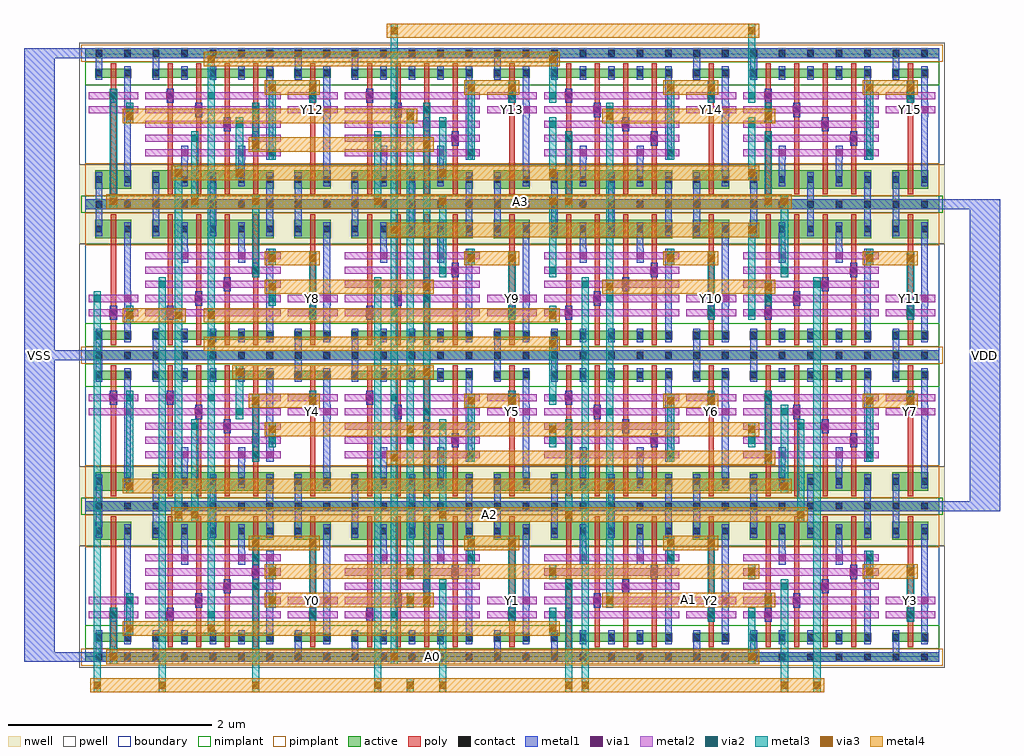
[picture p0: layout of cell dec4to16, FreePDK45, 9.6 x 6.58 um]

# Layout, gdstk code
import gdstk
lib = gdstk.Library(unit=1e-6, precision=5e-10)
def R(c, l, rs):  # rectangles x0, y0, x1, y1
    for r in rs: c.add(gdstk.rectangle(r[:2], r[2:], *l))
def A(c, l, x, y, w, h, nx, ny, dx, dy):  # array of equal rectangles
    R(c, l, [(x+i*dx, y+j*dy, x+i*dx+w, y+j*dy+h) for i in range(nx) for j in range(ny)])
active = (1, 0)
pwell = (2, 0)
nwell = (3, 0)
nimplant = (4, 0)
pimplant = (5, 0)
poly = (9, 0)
contact = (10, 0)
metal1 = (11, 0)
via1 = (12, 0)
metal2 = (13, 0)
via2 = (14, 0)
metal3 = (15, 0)
via3 = (16, 0)
metal4 = (17, 0)
boundary = (235, 0)

inv = lib.new_cell('inv')
R(inv, active, [(0,-0.05,0.56,0.045), (0.1,0.15,0.455,0.24), (0.1,1.15,0.455,1.33), (0,1.435,0.56,1.53)])
R(inv, pwell, [(-0.055,-0.105,0.615,1.095)])
R(inv, nwell, [(-0.055,1.095,0.615,1.585)])
R(inv, nimplant, [(0,0.08,0.56,0.31), (-0.035,1.4,0.595,1.565)])
R(inv, pimplant, [(-0.035,-0.085,0.595,0.08), (0,1.08,0.56,1.4)])
R(inv, poly, [(0.255,0.095,0.305,0.295), (0.255,0.295,0.305,1.095), (0.24,0.375,0.315,0.45), (0.255,1.095,0.305,1.385)])
R(inv, contact, [(0.105,-0.035,0.17,0.03), (0.385,-0.035,0.45,0.03), (0.105,0.16,0.17,0.225), (0.385,0.16,0.45,0.225), (0.245,0.38,0.31,0.445), (0.105,1.205,0.17,1.27), (0.385,1.205,0.45,1.27), (0.105,1.45,0.17,1.515), (0.385,1.45,0.45,1.515)])
R(inv, metal1, [(0,-0.05,0.56,0.045), (0.105,0,0.17,0.125), (0.105,0.125,0.17,0.26), (0.385,0.125,0.45,0.26), (0.385,0.26,0.45,0.555), (0.245,0.345,0.315,0.485), (0.385,0.485,0.455,0.625), (0.385,0.485,0.455,0.625), (0.385,0.555,0.45,1.17), (0.105,1.17,0.17,1.305), (0.385,1.17,0.45,1.305), (0.105,1.305,0.17,1.485), (0,1.435,0.56,1.53)])
R(inv, via1, [(0.245,0.38,0.315,0.45), (0.385,0.52,0.455,0.59), (0.385,0.52,0.455,0.59)])
R(inv, metal2, [(0.035,0.38,0.525,0.45), (0.21,0.38,0.35,0.45), (0.035,0.52,0.525,0.59), (0.35,0.52,0.49,0.59), (0.35,0.52,0.49,0.59)])
R(inv, boundary, [(0,0,0.56,1.485)])
inv.add(gdstk.Label('VSS', (0.28,-0.003), layer=11, texttype=1))
inv.add(gdstk.Label('VDD', (0.28,1.482), layer=11, texttype=1))
inv.add(gdstk.Label('Y', (0.28,0.555), layer=13, texttype=1))
inv.add(gdstk.Label('A', (0.28,0.415), layer=13, texttype=1))

nand4 = lib.new_cell('nand4')
R(nand4, active, [(0,-0.05,1.4,0.045), (0.1,0.15,1.295,0.24), (0.1,1.15,1.295,1.33), (0,1.435,1.4,1.53)])
R(nand4, pwell, [(-0.055,-0.105,1.455,1.095)])
R(nand4, nwell, [(-0.055,1.095,1.455,1.585)])
R(nand4, nimplant, [(0,0.08,1.4,0.31), (-0.035,1.4,1.435,1.565)])
R(nand4, pimplant, [(-0.035,-0.085,1.435,0.08), (0,1.08,1.4,1.4)])
A(nand4, poly, 0.255, 0.095, 0.05, 0.2, 4, 1, 0.28, 0)
A(nand4, poly, 0.255, 0.295, 0.05, 0.8, 4, 1, 0.28, 0)
A(nand4, poly, 0.255, 1.095, 0.05, 0.29, 4, 1, 0.28, 0)
R(nand4, poly, [(0.24,0.375,0.315,0.45), (0.52,0.515,0.595,0.59), (0.8,0.655,0.875,0.73), (1.08,0.795,1.155,0.87)])
A(nand4, contact, 0.105, -0.035, 0.065, 0.065, 5, 2, 0.28, 0.195)
A(nand4, contact, 0.105, 1.205, 0.065, 0.065, 5, 2, 0.28, 0.245)
R(nand4, contact, [(0.245,0.38,0.31,0.445), (0.525,0.52,0.59,0.585), (0.805,0.66,0.87,0.725), (1.085,0.8,1.15,0.865)])
A(nand4, metal1, 0.105, 0.125, 0.065, 0.135, 5, 2, 0.28, 1.045)
A(nand4, metal1, 0.105, 1.305, 0.065, 0.18, 3, 1, 0.56, 0)
R(nand4, metal1, [(0,-0.05,1.4,0.045), (0.105,0,0.17,0.125), (1.225,0.26,1.29,0.975), (0.245,0.345,0.315,0.485), (0.525,0.485,0.595,0.625), (0.805,0.625,0.875,0.765), (1.085,0.765,1.155,0.905), (0.385,0.905,0.455,1.045), (0.945,0.905,1.015,1.045), (1.225,0.905,1.295,1.045), (0.385,0.975,0.45,1.17), (0.945,0.975,1.01,1.17), (0,1.435,1.4,1.53)])
R(nand4, via1, [(0.245,0.38,0.315,0.45), (0.525,0.52,0.595,0.59), (0.805,0.66,0.875,0.73), (1.085,0.8,1.155,0.87), (0.385,0.94,0.455,1.01), (0.945,0.94,1.015,1.01), (1.225,0.94,1.295,1.01)])
A(nand4, metal2, 0.035, 0.38, 1.33, 0.07, 1, 5, 0, 0.14)
R(nand4, metal2, [(0.21,0.38,0.35,0.45), (0.49,0.52,0.63,0.59), (0.77,0.66,0.91,0.73), (1.05,0.8,1.19,0.87), (0.35,0.94,0.49,1.01), (0.91,0.94,1.05,1.01), (1.19,0.94,1.33,1.01)])
R(nand4, boundary, [(0,0,1.4,1.485)])
nand4.add(gdstk.Label('VSS', (0.7,-0.003), layer=11, texttype=1))
nand4.add(gdstk.Label('VDD', (0.7,1.482), layer=11, texttype=1))
nand4.add(gdstk.Label('Y', (0.7,0.975), layer=13, texttype=1))
nand4.add(gdstk.Label('A', (0.7,0.415), layer=13, texttype=1))
nand4.add(gdstk.Label('B', (0.7,0.555), layer=13, texttype=1))
nand4.add(gdstk.Label('C', (0.7,0.695), layer=13, texttype=1))
nand4.add(gdstk.Label('D', (0.7,0.835), layer=13, texttype=1))

dec4to16 = lib.new_cell('dec4to16')
A(dec4to16, metal1, -0.6, -0.05, 0.6, 0.095, 1, 3, 0, 2.97)
R(dec4to16, metal1, [(-0.6,-0.05,-0.3,5.985), (8.4,1.435,9,1.53), (8.7,1.435,9,4.5), (8.4,4.405,9,4.5)])
A(dec4to16, metal2, 3.73, 0.94, 0.14, 0.07, 3, 2, 1.96, 1.015)
A(dec4to16, metal2, 1.77, 3.91, 0.14, 0.07, 4, 2, 1.96, 1.015)
R(dec4to16, metal2, [(0.21,0.38,0.35,0.45), (1.17,0.38,1.31,0.45), (2.17,0.38,2.31,0.45), (2.97,0.38,3.11,0.45), (4.13,0.38,4.27,0.45), (4.53,0.38,4.67,0.45), (6.09,0.38,6.23,0.45), (6.49,0.38,6.63,0.45), (8.05,0.38,8.19,0.45), (0.37,0.52,0.51,0.59), (1.77,0.52,1.91,0.59), (3.13,0.52,3.27,0.59), (5.09,0.52,5.23,0.59), (6.65,0.52,6.79,0.59), (1.61,0.66,1.75,0.73), (3.45,0.66,3.59,0.73), (4.69,0.66,4.83,0.73), (6.81,0.66,6.95,0.73), (1.77,0.8,1.91,0.87), (3.13,0.8,3.27,0.87), (4.53,0.8,4.67,0.87), (6.49,0.8,6.63,0.87), (1.61,0.94,1.75,1.01), (1.61,1.955,1.75,2.025), (1.77,2.095,1.91,2.165), (3.13,2.095,3.27,2.165), (4.53,2.095,4.67,2.165), (6.49,2.095,6.63,2.165), (1.01,2.235,1.15,2.305), (3.45,2.235,3.59,2.305), (4.69,2.235,4.83,2.305), (6.97,2.235,7.11,2.305), (0.525,2.375,0.595,2.445), (1.45,2.375,1.59,2.445), (3.29,2.375,3.43,2.445), (5.09,2.375,5.23,2.445), (6.81,2.375,6.95,2.445), (0.37,2.515,0.51,2.585), (1.17,2.515,1.31,2.585), (2.17,2.515,2.31,2.585), (2.97,2.515,3.11,2.585), (4.13,2.515,4.27,2.585), (4.53,2.515,4.67,2.585), (6.09,2.515,6.23,2.585), (6.65,2.515,6.79,2.585), (8.05,2.515,8.19,2.585), (0.37,3.35,0.51,3.42), (1.17,3.35,1.31,3.42), (2.17,3.35,2.31,3.42), (2.97,3.35,3.11,3.42), (4.13,3.35,4.27,3.42), (4.53,3.35,4.67,3.42), (6.09,3.35,6.23,3.42), (6.49,3.35,6.63,3.42), (8.05,3.35,8.19,3.42), (0.05,3.49,0.19,3.56), (1.77,3.49,1.91,3.56), (3.29,3.49,3.43,3.56), (5.09,3.49,5.23,3.56), (6.65,3.49,6.79,3.56), (0.69,3.63,0.83,3.7), (2.81,3.63,2.95,3.7), (4.85,3.63,4.99,3.7), (7.13,3.63,7.27,3.7), (1.61,3.77,1.75,3.84), (3.45,3.77,3.59,3.84), (4.53,3.77,4.67,3.84), (6.81,3.77,6.95,3.84), (1.01,5.065,1.15,5.135), (2.81,5.065,2.95,5.135), (4.69,5.065,4.83,5.135), (6.65,5.065,6.79,5.135), (1.45,5.205,1.59,5.275), (3.45,5.205,3.59,5.275), (4.53,5.205,4.67,5.275), (6.49,5.205,6.63,5.275), (0.37,5.345,0.51,5.415), (1.61,5.345,1.75,5.415), (3.29,5.345,3.43,5.415), (5.09,5.345,5.23,5.415), (6.65,5.345,6.79,5.415), (0.21,5.485,0.35,5.555), (1.17,5.485,1.31,5.555), (2.17,5.485,2.31,5.555), (2.97,5.485,3.11,5.555), (4.13,5.485,4.27,5.555), (4.53,5.485,4.67,5.555), (6.09,5.485,6.23,5.555), (6.49,5.485,6.63,5.555), (8.05,5.485,8.19,5.555)])
A(dec4to16, via2, 3.765, 0.94, 0.07, 0.07, 3, 2, 1.96, 1.015)
A(dec4to16, via2, 1.805, 3.91, 0.07, 0.07, 4, 2, 1.96, 1.015)
R(dec4to16, via2, [(0.245,0.38,0.315,0.45), (1.205,0.38,1.275,0.45), (2.205,0.38,2.275,0.45), (3.005,0.38,3.075,0.45), (4.165,0.38,4.235,0.45), (4.565,0.38,4.635,0.45), (6.125,0.38,6.195,0.45), (6.525,0.38,6.595,0.45), (8.085,0.38,8.155,0.45), (0.405,0.52,0.475,0.59), (1.805,0.52,1.875,0.59), (3.165,0.52,3.235,0.59), (5.125,0.52,5.195,0.59), (6.685,0.52,6.755,0.59), (1.645,0.66,1.715,0.73), (3.485,0.66,3.555,0.73), (4.725,0.66,4.795,0.73), (6.845,0.66,6.915,0.73), (1.805,0.8,1.875,0.87), (3.165,0.8,3.235,0.87), (4.565,0.8,4.635,0.87), (6.525,0.8,6.595,0.87), (1.645,0.94,1.715,1.01), (1.645,1.955,1.715,2.025), (1.805,2.095,1.875,2.165), (3.165,2.095,3.235,2.165), (4.565,2.095,4.635,2.165), (6.525,2.095,6.595,2.165), (1.045,2.235,1.115,2.305), (3.485,2.235,3.555,2.305), (4.725,2.235,4.795,2.305), (7.005,2.235,7.075,2.305), (1.485,2.375,1.555,2.445), (3.325,2.375,3.395,2.445), (5.125,2.375,5.195,2.445), (6.845,2.375,6.915,2.445), (0.405,2.515,0.475,2.585), (1.205,2.515,1.275,2.585), (2.205,2.515,2.275,2.585), (3.005,2.515,3.075,2.585), (4.165,2.515,4.235,2.585), (4.565,2.515,4.635,2.585), (6.125,2.515,6.195,2.585), (6.685,2.515,6.755,2.585), (8.085,2.515,8.155,2.585), (0.405,3.35,0.475,3.42), (1.205,3.35,1.275,3.42), (2.205,3.35,2.275,3.42), (3.005,3.35,3.075,3.42), (4.165,3.35,4.235,3.42), (4.565,3.35,4.635,3.42), (6.125,3.35,6.195,3.42), (6.525,3.35,6.595,3.42), (8.085,3.35,8.155,3.42), (0.085,3.49,0.155,3.56), (1.805,3.49,1.875,3.56), (3.325,3.49,3.395,3.56), (5.125,3.49,5.195,3.56), (6.685,3.49,6.755,3.56), (0.725,3.63,0.795,3.7), (2.845,3.63,2.915,3.7), (4.885,3.63,4.955,3.7), (7.165,3.63,7.235,3.7), (1.645,3.77,1.715,3.84), (3.485,3.77,3.555,3.84), (4.565,3.77,4.635,3.84), (6.845,3.77,6.915,3.84), (1.045,5.065,1.115,5.135), (2.845,5.065,2.915,5.135), (4.725,5.065,4.795,5.135), (6.685,5.065,6.755,5.135), (1.485,5.205,1.555,5.275), (3.485,5.205,3.555,5.275), (4.565,5.205,4.635,5.275), (6.525,5.205,6.595,5.275), (0.405,5.345,0.475,5.415), (1.645,5.345,1.715,5.415), (3.325,5.345,3.395,5.415), (5.125,5.345,5.195,5.415), (6.685,5.345,6.755,5.415), (0.245,5.485,0.315,5.555), (1.205,5.485,1.275,5.555), (2.205,5.485,2.275,5.555), (3.005,5.485,3.075,5.555), (4.165,5.485,4.235,5.555), (4.565,5.485,4.635,5.555), (6.125,5.485,6.195,5.555), (6.525,5.485,6.595,5.555), (8.085,5.485,8.155,5.555)])
A(dec4to16, metal3, 2.205, 0.415, 0.07, 0.705, 3, 1, 1.96, 0)
A(dec4to16, metal3, 3.765, 0.905, 0.07, 0.14, 3, 2, 1.96, 1.015)
A(dec4to16, metal3, 3.765, 1.05, 0.07, 0.14, 1, 3, 0, 1.4)
A(dec4to16, metal3, 5.725, 1.05, 0.07, 0.14, 1, 3, 0, 1.4)
A(dec4to16, metal3, 3.765, 1.99, 0.07, 0.53, 3, 1, 1.96, 0)
A(dec4to16, metal3, 2.205, 2.52, 0.07, 0.03, 4, 1, 1.96, 0)
A(dec4to16, metal3, 2.205, 3.385, 0.07, 0.535, 4, 1, 1.96, 0)
A(dec4to16, metal3, 1.805, 3.875, 0.07, 0.14, 4, 2, 1.96, 1.015)
A(dec4to16, metal3, 1.805, 3.92, 0.07, 0.025, 4, 1, 1.96, 0)
A(dec4to16, metal3, 1.805, 4.96, 0.07, 0.64, 4, 1, 1.96, 0)
A(dec4to16, metal3, 2.205, 5.52, 0.07, 0.08, 4, 1, 1.96, 0)
R(dec4to16, metal3, [(0.085,-0.35,0.155,-0.21), (0.725,-0.35,0.795,-0.21), (1.645,-0.35,1.715,-0.21), (2.845,-0.35,2.915,-0.21), (3.165,-0.35,3.235,-0.21), (3.165,-0.35,3.235,-0.21), (3.485,-0.35,3.555,-0.21), (4.725,-0.35,4.795,-0.21), (4.885,-0.35,4.955,-0.21), (6.845,-0.35,6.915,-0.21), (7.165,-0.35,7.235,-0.21), (0.085,-0.28,0.155,3.525), (0.725,-0.28,0.795,3.665), (1.645,-0.28,1.715,0.695), (2.845,-0.28,2.915,3.665), (3.485,-0.28,3.555,0.695), (4.725,-0.28,4.795,0.695), (4.885,-0.28,4.955,3.665), (6.845,-0.28,6.915,0.695), (7.165,-0.28,7.235,3.665), (0.245,-0.07,0.315,0.07), (3.005,-0.07,3.075,0.07), (3.005,-0.07,3.075,0.07), (6.525,-0.07,6.595,0.07), (0.245,0,0.315,0.415), (3.005,0,3.075,6.16), (3.005,0,3.075,0.415), (6.525,0,6.595,0.415), (0.405,0.21,0.475,0.35), (1.205,0.21,1.275,0.35), (1.205,0.21,1.275,0.35), (4.565,0.21,4.635,0.35), (0.405,0.28,0.475,0.555), (1.205,0.28,1.275,5.88), (1.205,0.28,1.275,0.415), (4.565,0.28,4.635,0.415), (0.245,0.345,0.315,0.485), (1.205,0.345,1.275,0.485), (2.205,0.345,2.275,0.485), (3.005,0.345,3.075,0.485), (4.165,0.345,4.235,0.485), (4.565,0.345,4.635,0.485), (6.125,0.345,6.195,0.485), (6.525,0.345,6.595,0.485), (8.085,0.345,8.155,0.485), (8.085,0.415,8.155,0.84), (0.405,0.485,0.475,0.625), (1.805,0.485,1.875,0.625), (3.165,0.485,3.235,0.625), (5.125,0.485,5.195,0.625), (6.685,0.485,6.755,0.625), (1.805,0.49,1.875,0.63), (3.165,0.49,3.235,0.63), (3.325,0.49,3.395,0.63), (5.125,0.49,5.195,0.63), (5.125,0.49,5.195,0.63), (6.685,0.49,6.755,0.63), (1.805,0.555,1.875,0.56), (3.165,0.555,3.235,0.56), (5.125,0.555,5.195,0.56), (6.685,0.555,6.755,0.56), (3.325,0.56,3.395,5.04), (5.125,0.56,5.195,5.32), (1.645,0.625,1.715,0.765), (3.485,0.625,3.555,0.765), (4.725,0.625,4.795,0.765), (6.845,0.625,6.915,0.765), (1.805,0.765,1.875,0.905), (3.165,0.765,3.235,0.905), (4.565,0.765,4.635,0.905), (6.525,0.765,6.595,0.905), (1.805,0.77,1.875,0.91), (3.165,0.77,3.235,0.91), (3.165,0.77,3.235,0.91), (4.565,0.77,4.635,0.91), (6.525,0.77,6.595,0.91), (7.685,0.77,7.755,0.91), (8.085,0.77,8.155,0.91), (1.805,0.835,1.875,0.84), (3.165,0.835,3.235,0.84), (4.565,0.835,4.635,0.84), (6.525,0.835,6.595,0.84), (3.165,0.84,3.235,5.32), (7.685,0.84,7.755,0.975), (1.645,0.905,1.715,1.045), (1.645,0.975,1.715,1.12), (3.765,0.975,3.835,1.12), (5.725,0.975,5.795,1.12), (1.645,1.05,1.715,1.19), (2.205,1.05,2.275,1.19), (4.165,1.05,4.235,1.19), (6.125,1.05,6.195,1.19), (0.885,1.33,0.955,1.47), (1.045,1.33,1.115,1.47), (3.485,1.33,3.555,1.47), (4.725,1.33,4.795,1.47), (7.005,1.33,7.075,1.47), (0.885,1.4,0.955,4.76), (1.045,1.4,1.115,2.27), (3.485,1.4,3.555,2.27), (4.725,1.4,4.795,2.27), (7.005,1.4,7.075,2.27), (0.405,1.61,0.475,1.75), (5.125,1.61,5.195,1.75), (5.125,1.61,5.195,1.75), (6.845,1.61,6.915,1.75), (0.405,1.68,0.475,2.55), (5.125,1.68,5.195,2.41), (6.845,1.68,6.915,2.41), (3.005,1.89,3.075,2.03), (3.005,1.89,3.075,2.03), (6.685,1.89,6.755,2.03), (1.645,1.92,1.715,2.06), (3.005,1.96,3.075,2.55), (6.685,1.96,6.755,2.55), (1.645,1.99,1.715,2.52), (1.805,2.06,1.875,2.2), (3.165,2.06,3.235,2.2), (4.565,2.06,4.635,2.2), (6.525,2.06,6.595,2.2), (1.805,2.13,1.875,2.24), (3.165,2.13,3.235,2.24), (4.565,2.13,4.635,2.24), (6.525,2.13,6.595,2.24), (1.805,2.17,1.875,2.31), (3.165,2.17,3.235,2.31), (3.165,2.17,3.235,2.31), (4.565,2.17,4.635,2.31), (6.525,2.17,6.595,2.31), (1.045,2.2,1.115,2.34), (3.485,2.2,3.555,2.34), (4.725,2.2,4.795,2.34), (7.005,2.2,7.075,2.34), (1.485,2.34,1.555,2.48), (3.325,2.34,3.395,2.48), (5.125,2.34,5.195,2.48), (6.845,2.34,6.915,2.48), (1.485,2.41,1.555,2.8), (3.325,2.41,3.395,2.8), (1.645,2.45,1.715,2.59), (2.205,2.45,2.275,2.59), (4.165,2.45,4.235,2.59), (6.125,2.45,6.195,2.59), (7.685,2.45,7.755,2.59), (8.085,2.45,8.155,2.59), (0.405,2.48,0.475,2.62), (1.205,2.48,1.275,2.62), (2.205,2.48,2.275,2.62), (3.005,2.48,3.075,2.62), (4.165,2.48,4.235,2.62), (4.565,2.48,4.635,2.62), (6.125,2.48,6.195,2.62), (6.685,2.48,6.755,2.62), (8.085,2.48,8.155,2.62), (1.205,2.55,1.275,3.08), (4.565,2.55,4.635,3.08), (1.485,2.73,1.555,2.87), (3.325,2.73,3.395,2.87), (3.325,2.73,3.395,2.87), (1.205,3.01,1.275,3.15), (1.205,3.01,1.275,3.15), (4.565,3.01,4.635,3.15), (0.405,3.29,0.475,3.43), (0.885,3.29,0.955,3.43), (1.205,3.29,1.275,3.43), (1.205,3.29,1.275,3.43), (4.565,3.29,4.635,3.43), (0.405,3.315,0.475,3.455), (1.205,3.315,1.275,3.455), (2.205,3.315,2.275,3.455), (3.005,3.315,3.075,3.455), (4.165,3.315,4.235,3.455), (4.565,3.315,4.635,3.455), (6.125,3.315,6.195,3.455), (6.525,3.315,6.595,3.455), (8.085,3.315,8.155,3.455), (0.405,3.36,0.475,3.385), (1.205,3.36,1.275,3.385), (4.565,3.36,4.635,3.385), (3.005,3.385,3.075,4.2), (6.525,3.385,6.595,4.2), (0.085,3.455,0.155,3.595), (1.805,3.455,1.875,3.595), (3.325,3.455,3.395,3.595), (5.125,3.455,5.195,3.595), (6.685,3.455,6.755,3.595), (1.805,3.525,1.875,3.64), (3.325,3.525,3.395,3.64), (5.125,3.525,5.195,3.64), (6.685,3.525,6.755,3.64), (1.805,3.57,1.875,3.71), (3.325,3.57,3.395,3.71), (3.325,3.57,3.395,3.71), (5.125,3.57,5.195,3.71), (5.125,3.57,5.195,3.71), (6.685,3.57,6.755,3.71), (0.725,3.595,0.795,3.735), (2.845,3.595,2.915,3.735), (4.885,3.595,4.955,3.735), (7.165,3.595,7.235,3.735), (1.645,3.735,1.715,3.875), (3.485,3.735,3.555,3.875), (4.565,3.735,4.635,3.875), (6.845,3.735,6.915,3.875), (1.645,3.805,1.715,4.48), (3.485,3.805,3.555,4.48), (4.565,3.805,4.635,4.48), (6.845,3.805,6.915,4.48), (1.805,3.85,1.875,3.99), (2.205,3.85,2.275,3.99), (4.165,3.85,4.235,3.99), (6.125,3.85,6.195,3.99), (7.685,3.85,7.755,3.99), (8.085,3.85,8.155,3.99), (3.005,4.13,3.075,4.27), (3.005,4.13,3.075,4.27), (6.525,4.13,6.595,4.27), (0.245,4.41,0.315,4.55), (1.045,4.41,1.115,4.55), (1.645,4.41,1.715,4.55), (2.845,4.41,2.915,4.55), (3.485,4.41,3.555,4.55), (3.485,4.41,3.555,4.55), (3.485,4.41,3.555,4.55), (4.565,4.41,4.635,4.55), (4.725,4.41,4.795,4.55), (6.685,4.41,6.755,4.55), (6.845,4.41,6.915,4.55), (0.245,4.48,0.315,5.52), (1.045,4.48,1.115,5.1), (2.845,4.48,2.915,5.1), (4.725,4.48,4.795,5.1), (6.685,4.48,6.755,5.1), (0.885,4.69,0.955,4.83), (1.485,4.69,1.555,4.83), (3.485,4.69,3.555,4.83), (4.565,4.69,4.635,4.83), (6.525,4.69,6.595,4.83), (1.485,4.76,1.555,5.24), (3.485,4.76,3.555,5.24), (4.565,4.76,4.635,5.24), (6.525,4.76,6.595,5.24), (1.645,4.97,1.715,5.11), (3.325,4.97,3.395,5.11), (3.325,4.97,3.395,5.11), (1.045,5.03,1.115,5.17), (2.845,5.03,2.915,5.17), (4.725,5.03,4.795,5.17), (6.685,5.03,6.755,5.17), (1.645,5.04,1.715,5.38), (3.325,5.04,3.395,5.38), (1.485,5.17,1.555,5.31), (3.485,5.17,3.555,5.31), (4.565,5.17,4.635,5.31), (6.525,5.17,6.595,5.31), (0.405,5.25,0.475,5.39), (3.165,5.25,3.235,5.39), (5.125,5.25,5.195,5.39), (5.125,5.25,5.195,5.39), (6.685,5.25,6.755,5.39), (0.405,5.31,0.475,5.45), (1.645,5.31,1.715,5.45), (3.325,5.31,3.395,5.45), (5.125,5.31,5.195,5.45), (6.685,5.31,6.755,5.45), (0.405,5.32,0.475,5.38), (5.125,5.32,5.195,5.38), (6.685,5.32,6.755,5.38), (0.245,5.45,0.315,5.59), (1.205,5.45,1.275,5.59), (2.205,5.45,2.275,5.59), (3.005,5.45,3.075,5.59), (4.165,5.45,4.235,5.59), (4.565,5.45,4.635,5.59), (6.125,5.45,6.195,5.59), (6.525,5.45,6.595,5.59), (8.085,5.45,8.155,5.59), (1.205,5.52,1.275,5.88), (3.005,5.52,3.075,6.16), (4.565,5.52,4.635,5.88), (6.525,5.52,6.595,6.16), (1.805,5.53,1.875,5.67), (2.205,5.53,2.275,5.67), (3.765,5.53,3.835,5.67), (4.165,5.53,4.235,5.67), (5.725,5.53,5.795,5.67), (6.125,5.53,6.195,5.67), (7.685,5.53,7.755,5.67), (8.085,5.53,8.155,5.67), (1.205,5.81,1.275,5.95), (1.205,5.81,1.275,5.95), (4.565,5.81,4.635,5.95), (3.005,6.09,3.075,6.23), (3.005,6.09,3.075,6.23), (6.525,6.09,6.595,6.23)])
A(dec4to16, via3, 1.645, -0.315, 0.07, 0.07, 1, 3, 0, 1.4)
A(dec4to16, via3, 1.805, 0.805, 0.07, 0.07, 1, 3, 0, 1.4)
A(dec4to16, via3, 2.205, 1.085, 0.07, 0.07, 1, 3, 0, 1.4)
A(dec4to16, via3, 3.765, 1.085, 0.07, 0.07, 1, 3, 0, 1.4)
A(dec4to16, via3, 4.165, 1.085, 0.07, 0.07, 1, 3, 0, 1.4)
A(dec4to16, via3, 5.725, 1.085, 0.07, 0.07, 1, 3, 0, 1.4)
A(dec4to16, via3, 6.125, 1.085, 0.07, 0.07, 1, 3, 0, 1.4)
A(dec4to16, via3, 6.685, 3.605, 0.07, 0.07, 1, 3, 0, 0.84)
R(dec4to16, via3, [(0.085,-0.315,0.155,-0.245), (0.725,-0.315,0.795,-0.245), (2.845,-0.315,2.915,-0.245), (3.165,-0.315,3.235,-0.245), (3.165,-0.315,3.235,-0.245), (3.485,-0.315,3.555,-0.245), (4.725,-0.315,4.795,-0.245), (4.885,-0.315,4.955,-0.245), (6.845,-0.315,6.915,-0.245), (7.165,-0.315,7.235,-0.245), (0.245,-0.035,0.315,0.035), (3.005,-0.035,3.075,0.035), (3.005,-0.035,3.075,0.035), (6.525,-0.035,6.595,0.035), (0.405,0.245,0.475,0.315), (1.205,0.245,1.275,0.315), (1.205,0.245,1.275,0.315), (4.565,0.245,4.635,0.315), (1.805,0.525,1.875,0.595), (3.165,0.525,3.235,0.595), (3.325,0.525,3.395,0.595), (5.125,0.525,5.195,0.595), (5.125,0.525,5.195,0.595), (6.685,0.525,6.755,0.595), (3.165,0.805,3.235,0.875), (3.165,0.805,3.235,0.875), (4.565,0.805,4.635,0.875), (6.525,0.805,6.595,0.875), (7.685,0.805,7.755,0.875), (8.085,0.805,8.155,0.875), (0.885,1.365,0.955,1.435), (1.045,1.365,1.115,1.435), (3.485,1.365,3.555,1.435), (4.725,1.365,4.795,1.435), (7.005,1.365,7.075,1.435), (0.405,1.645,0.475,1.715), (5.125,1.645,5.195,1.715), (5.125,1.645,5.195,1.715), (6.845,1.645,6.915,1.715), (3.005,1.925,3.075,1.995), (3.005,1.925,3.075,1.995), (6.685,1.925,6.755,1.995), (3.165,2.205,3.235,2.275), (3.165,2.205,3.235,2.275), (4.565,2.205,4.635,2.275), (6.525,2.205,6.595,2.275), (7.685,2.485,7.755,2.555), (8.085,2.485,8.155,2.555), (1.485,2.765,1.555,2.835), (3.325,2.765,3.395,2.835), (3.325,2.765,3.395,2.835), (1.205,3.045,1.275,3.115), (1.205,3.045,1.275,3.115), (4.565,3.045,4.635,3.115), (0.405,3.325,0.475,3.395), (0.885,3.325,0.955,3.395), (1.205,3.325,1.275,3.395), (1.205,3.325,1.275,3.395), (4.565,3.325,4.635,3.395), (3.325,3.605,3.395,3.675), (3.325,3.605,3.395,3.675), (5.125,3.605,5.195,3.675), (5.125,3.605,5.195,3.675), (1.805,3.885,1.875,3.955), (7.685,3.885,7.755,3.955), (8.085,3.885,8.155,3.955), (3.005,4.165,3.075,4.235), (3.005,4.165,3.075,4.235), (6.525,4.165,6.595,4.235), (0.245,4.445,0.315,4.515), (1.045,4.445,1.115,4.515), (1.645,4.445,1.715,4.515), (2.845,4.445,2.915,4.515), (3.485,4.445,3.555,4.515), (3.485,4.445,3.555,4.515), (3.485,4.445,3.555,4.515), (4.565,4.445,4.635,4.515), (4.725,4.445,4.795,4.515), (6.845,4.445,6.915,4.515), (0.885,4.725,0.955,4.795), (1.485,4.725,1.555,4.795), (3.485,4.725,3.555,4.795), (4.565,4.725,4.635,4.795), (6.525,4.725,6.595,4.795), (1.645,5.005,1.715,5.075), (3.325,5.005,3.395,5.075), (3.325,5.005,3.395,5.075), (0.405,5.285,0.475,5.355), (3.165,5.285,3.235,5.355), (5.125,5.285,5.195,5.355), (5.125,5.285,5.195,5.355), (1.805,5.565,1.875,5.635), (2.205,5.565,2.275,5.635), (3.765,5.565,3.835,5.635), (4.165,5.565,4.235,5.635), (5.725,5.565,5.795,5.635), (6.125,5.565,6.195,5.635), (7.685,5.565,7.755,5.635), (8.085,5.565,8.155,5.635), (1.205,5.845,1.275,5.915), (1.205,5.845,1.275,5.915), (4.565,5.845,4.635,5.915), (3.005,6.125,3.075,6.195), (3.005,6.125,3.075,6.195), (6.525,6.125,6.595,6.195)])
A(dec4to16, metal4, 1.61, -0.35, 0.14, 0.14, 1, 3, 0, 1.4)
A(dec4to16, metal4, 1.77, 0.77, 0.14, 0.14, 1, 3, 0, 1.4)
A(dec4to16, metal4, 2.17, 1.05, 0.14, 0.14, 1, 3, 0, 1.4)
A(dec4to16, metal4, 3.73, 1.05, 0.14, 0.14, 1, 3, 0, 1.4)
A(dec4to16, metal4, 4.13, 1.05, 0.14, 0.14, 1, 3, 0, 1.4)
A(dec4to16, metal4, 5.69, 1.05, 0.14, 0.14, 1, 3, 0, 1.4)
A(dec4to16, metal4, 6.09, 1.05, 0.14, 0.14, 1, 3, 0, 1.4)
A(dec4to16, metal4, 3.8, 2.45, 0.4, 0.14, 3, 1, 1.96, 0)
A(dec4to16, metal4, 6.65, 3.57, 0.14, 0.14, 1, 3, 0, 0.84)
A(dec4to16, metal4, 1.84, 3.85, 0.4, 0.14, 4, 2, 1.96, 1.68)
R(dec4to16, metal4, [(0.05,-0.35,0.19,-0.21), (0.12,-0.35,7.2,-0.21), (0.69,-0.35,0.83,-0.21), (1.68,-0.35,6.88,-0.21), (2.81,-0.35,2.95,-0.21), (3.13,-0.35,3.27,-0.21), (3.13,-0.35,3.27,-0.21), (3.45,-0.35,3.59,-0.21), (4.69,-0.35,4.83,-0.21), (4.85,-0.35,4.99,-0.21), (6.81,-0.35,6.95,-0.21), (7.13,-0.35,7.27,-0.21), (0.21,-0.07,0.35,0.07), (0.28,-0.07,6.56,0.07), (2.97,-0.07,3.11,0.07), (2.97,-0.07,3.11,0.07), (6.49,-0.07,6.63,0.07), (0.37,0.21,0.51,0.35), (0.44,0.21,4.6,0.35), (1.17,0.21,1.31,0.35), (1.17,0.21,1.31,0.35), (4.53,0.21,4.67,0.35), (1.77,0.49,1.91,0.63), (1.84,0.49,3.36,0.63), (3.13,0.49,3.27,0.63), (3.29,0.49,3.43,0.63), (5.09,0.49,5.23,0.63), (5.09,0.49,5.23,0.63), (5.16,0.49,6.72,0.63), (6.65,0.49,6.79,0.63), (1.84,0.77,6.56,0.91), (3.13,0.77,3.27,0.91), (3.13,0.77,3.27,0.91), (4.53,0.77,4.67,0.91), (6.49,0.77,6.63,0.91), (7.65,0.77,7.79,0.91), (7.72,0.77,8.12,0.91), (8.05,0.77,8.19,0.91), (1.68,1.05,2.24,1.19), (3.8,1.05,4.2,1.19), (5.76,1.05,6.16,1.19), (0.85,1.33,0.99,1.47), (0.92,1.33,7.04,1.47), (1.01,1.33,1.15,1.47), (3.45,1.33,3.59,1.47), (4.69,1.33,4.83,1.47), (6.97,1.33,7.11,1.47), (0.37,1.61,0.51,1.75), (0.44,1.61,6.88,1.75), (5.09,1.61,5.23,1.75), (5.09,1.61,5.23,1.75), (6.81,1.61,6.95,1.75), (2.97,1.89,3.11,2.03), (2.97,1.89,3.11,2.03), (3.04,1.89,6.72,2.03), (6.65,1.89,6.79,2.03), (1.84,2.17,6.56,2.31), (3.13,2.17,3.27,2.31), (3.13,2.17,3.27,2.31), (4.53,2.17,4.67,2.31), (6.49,2.17,6.63,2.31), (1.68,2.45,2.24,2.59), (7.65,2.45,7.79,2.59), (8.05,2.45,8.19,2.59), (1.45,2.73,1.59,2.87), (1.52,2.73,3.36,2.87), (3.29,2.73,3.43,2.87), (3.29,2.73,3.43,2.87), (1.17,3.01,1.31,3.15), (1.17,3.01,1.31,3.15), (1.24,3.01,4.6,3.15), (4.53,3.01,4.67,3.15), (0.37,3.29,0.51,3.43), (0.44,3.29,0.92,3.43), (0.85,3.29,0.99,3.43), (1.17,3.29,1.31,3.43), (1.17,3.29,1.31,3.43), (1.24,3.29,4.6,3.43), (4.53,3.29,4.67,3.43), (1.84,3.57,3.36,3.71), (3.29,3.57,3.43,3.71), (3.29,3.57,3.43,3.71), (5.09,3.57,5.23,3.71), (5.09,3.57,5.23,3.71), (5.16,3.57,6.72,3.71), (1.77,3.85,1.91,3.99), (7.65,3.85,7.79,3.99), (8.05,3.85,8.19,3.99), (2.97,4.13,3.11,4.27), (2.97,4.13,3.11,4.27), (3.04,4.13,6.56,4.27), (6.49,4.13,6.63,4.27), (0.21,4.41,0.35,4.55), (0.28,4.41,6.72,4.55), (1.01,4.41,1.15,4.55), (1.61,4.41,1.75,4.55), (1.68,4.41,6.88,4.55), (2.81,4.41,2.95,4.55), (3.45,4.41,3.59,4.55), (3.45,4.41,3.59,4.55), (3.45,4.41,3.59,4.55), (4.53,4.41,4.67,4.55), (4.69,4.41,4.83,4.55), (6.81,4.41,6.95,4.55), (0.85,4.69,0.99,4.83), (0.92,4.69,6.56,4.83), (1.45,4.69,1.59,4.83), (3.45,4.69,3.59,4.83), (4.53,4.69,4.67,4.83), (6.49,4.69,6.63,4.83), (1.61,4.97,1.75,5.11), (1.68,4.97,3.36,5.11), (3.29,4.97,3.43,5.11), (3.29,4.97,3.43,5.11), (0.37,5.25,0.51,5.39), (0.44,5.25,3.2,5.39), (3.13,5.25,3.27,5.39), (5.09,5.25,5.23,5.39), (5.09,5.25,5.23,5.39), (5.16,5.25,6.72,5.39), (1.77,5.53,1.91,5.67), (2.17,5.53,2.31,5.67), (3.73,5.53,3.87,5.67), (4.13,5.53,4.27,5.67), (5.69,5.53,5.83,5.67), (6.09,5.53,6.23,5.67), (7.65,5.53,7.79,5.67), (8.05,5.53,8.19,5.67), (1.17,5.81,1.31,5.95), (1.17,5.81,1.31,5.95), (1.24,5.81,4.6,5.95), (4.53,5.81,4.67,5.95), (2.97,6.09,3.11,6.23), (2.97,6.09,3.11,6.23), (3.04,6.09,6.56,6.23), (6.49,6.09,6.63,6.23)])
dec4to16.add(gdstk.Reference(inv, (0,0)))
dec4to16.add(gdstk.Reference(nand4, (0.56,0)))
dec4to16.add(gdstk.Reference(inv, (1.96,0)))
dec4to16.add(gdstk.Reference(nand4, (2.52,0)))
dec4to16.add(gdstk.Reference(inv, (3.92,0)))
dec4to16.add(gdstk.Reference(nand4, (4.48,0)))
dec4to16.add(gdstk.Reference(inv, (5.88,0)))
dec4to16.add(gdstk.Reference(nand4, (6.44,0)))
dec4to16.add(gdstk.Reference(inv, (7.84,0)))
dec4to16.add(gdstk.Reference(inv, (0,2.965), x_reflection=True))
dec4to16.add(gdstk.Reference(nand4, (0.56,2.965), x_reflection=True))
dec4to16.add(gdstk.Reference(inv, (1.96,2.965), x_reflection=True))
dec4to16.add(gdstk.Reference(nand4, (2.52,2.965), x_reflection=True))
dec4to16.add(gdstk.Reference(inv, (3.92,2.965), x_reflection=True))
dec4to16.add(gdstk.Reference(nand4, (4.48,2.965), x_reflection=True))
dec4to16.add(gdstk.Reference(inv, (5.88,2.965), x_reflection=True))
dec4to16.add(gdstk.Reference(nand4, (6.44,2.965), x_reflection=True))
dec4to16.add(gdstk.Reference(inv, (7.84,2.965), x_reflection=True))
dec4to16.add(gdstk.Reference(inv, (0,2.97)))
dec4to16.add(gdstk.Reference(nand4, (0.56,2.97)))
dec4to16.add(gdstk.Reference(inv, (1.96,2.97)))
dec4to16.add(gdstk.Reference(nand4, (2.52,2.97)))
dec4to16.add(gdstk.Reference(inv, (3.92,2.97)))
dec4to16.add(gdstk.Reference(nand4, (4.48,2.97)))
dec4to16.add(gdstk.Reference(inv, (5.88,2.97)))
dec4to16.add(gdstk.Reference(nand4, (6.44,2.97)))
dec4to16.add(gdstk.Reference(inv, (7.84,2.97)))
dec4to16.add(gdstk.Reference(inv, (0,5.935), x_reflection=True))
dec4to16.add(gdstk.Reference(nand4, (0.56,5.935), x_reflection=True))
dec4to16.add(gdstk.Reference(inv, (1.96,5.935), x_reflection=True))
dec4to16.add(gdstk.Reference(nand4, (2.52,5.935), x_reflection=True))
dec4to16.add(gdstk.Reference(inv, (3.92,5.935), x_reflection=True))
dec4to16.add(gdstk.Reference(nand4, (4.48,5.935), x_reflection=True))
dec4to16.add(gdstk.Reference(inv, (5.88,5.935), x_reflection=True))
dec4to16.add(gdstk.Reference(nand4, (6.44,5.935), x_reflection=True))
dec4to16.add(gdstk.Reference(inv, (7.84,5.935), x_reflection=True))
dec4to16.add(gdstk.Label('VSS', (-0.45,2.967), layer=11, texttype=1))
dec4to16.add(gdstk.Label('VDD', (8.85,2.967), layer=11, texttype=1))
dec4to16.add(gdstk.Label('Y0', (2.24,0.555), layer=13, texttype=1))
dec4to16.add(gdstk.Label('Y1', (4.2,0.555), layer=13, texttype=1))
dec4to16.add(gdstk.Label('Y10', (6.16,3.525), layer=13, texttype=1))
dec4to16.add(gdstk.Label('Y11', (8.12,3.525), layer=13, texttype=1))
dec4to16.add(gdstk.Label('Y12', (2.24,5.38), layer=13, texttype=1))
dec4to16.add(gdstk.Label('Y13', (4.2,5.38), layer=13, texttype=1))
dec4to16.add(gdstk.Label('Y14', (6.16,5.38), layer=13, texttype=1))
dec4to16.add(gdstk.Label('Y15', (8.12,5.38), layer=13, texttype=1))
dec4to16.add(gdstk.Label('Y2', (6.16,0.555), layer=13, texttype=1))
dec4to16.add(gdstk.Label('Y3', (8.12,0.555), layer=13, texttype=1))
dec4to16.add(gdstk.Label('Y4', (2.24,2.41), layer=13, texttype=1))
dec4to16.add(gdstk.Label('Y5', (4.2,2.41), layer=13, texttype=1))
dec4to16.add(gdstk.Label('Y6', (6.16,2.41), layer=13, texttype=1))
dec4to16.add(gdstk.Label('Y7', (8.12,2.41), layer=13, texttype=1))
dec4to16.add(gdstk.Label('Y8', (2.24,3.525), layer=13, texttype=1))
dec4to16.add(gdstk.Label('Y9', (4.2,3.525), layer=13, texttype=1))
dec4to16.add(gdstk.Label('A0', (3.42,0), layer=17, texttype=1))
dec4to16.add(gdstk.Label('A1', (5.94,0.56), layer=17, texttype=1))
dec4to16.add(gdstk.Label('A2', (3.98,1.4), layer=17, texttype=1))
dec4to16.add(gdstk.Label('A3', (4.28,4.48), layer=17, texttype=1))

lib.write_gds('dec4to16.gds')
